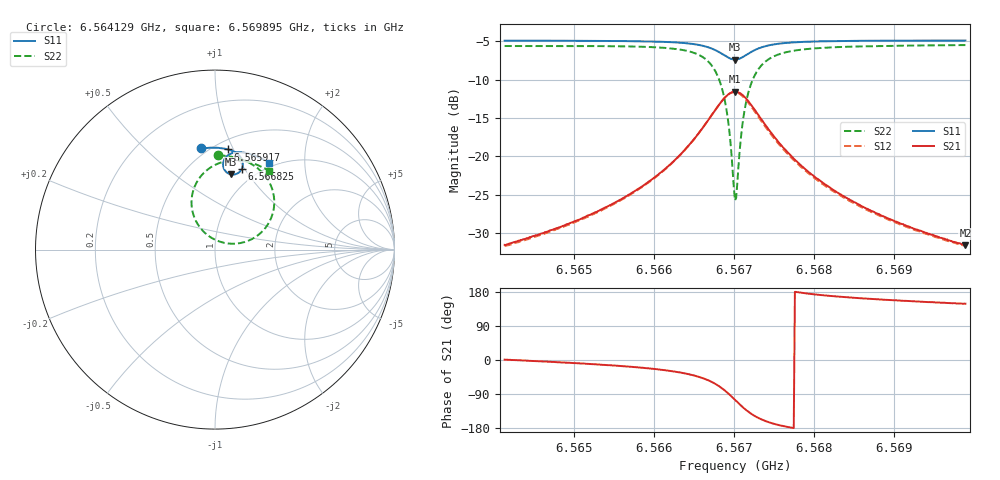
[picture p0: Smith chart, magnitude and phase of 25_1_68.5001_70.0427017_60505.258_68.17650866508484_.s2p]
#  HZ  S  RI  R  50.00
! Rohde & Schwarz Vector Network Analyzer
! Rohde-Schwarz,ZNB20-2Port,1311601062101988,3.16
! Created: UTC 3/20/2024, 5:04:50 PM
! freq[Hz]  re:S11  im:S11  re:S21  im:S21  re:S12  im:S12  re:S22  im:S22
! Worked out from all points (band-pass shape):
!   401 points, 6.564129 GHz to 6.569895 GHz, reference 50 ohm
!   highest |S21| = -11.56 dB at 6.567012 GHz (marker M1); lowest = -31.6 dB at 6.569895 GHz (marker M2)
!   |S21| within 3 dB of the highest: 6.566724 GHz to 6.567301 GHz (577.1 kHz wide, 0.00879 % of centre)
!   lowest |S11| = -7.4 dB at 6.567012 GHz (marker M3), VSWR 2.50, Z = 40.6 + j41.7 ohm
!   |S11| at or under -10 dB: nowhere
!   |S22| runs from -25.7 to -5.5 dB; largest |S21 - S12| = 0.012
!   S11 on the Smith chart (normalised r, x): 6.564129 GHz: 0.46, +0.76; 6.565917 GHz: 0.58, +0.95; 6.566825 GHz: 0.84, +0.97; 6.569895 GHz: 0.93, +1.34
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6.5641291e9  -0.0802 0.5634  0.0264 0.000429  0.0259 2.04e-05  0.0187 0.5247
6.5650949e9  -0.00218 0.568  0.0387 -0.00637  0.0383 -0.00684  0.1073 0.5141
6.5659165e9  0.0721 0.5581  0.0626 -0.025  0.0616 -0.0257  0.2066 0.4749
6.5660607e9  0.0869 0.5536  0.0697 -0.0325  0.0684 -0.0332  0.2293 0.4597
6.5663778e9  0.122 0.5356  0.0897 -0.0628  0.0882 -0.0639  0.2877 0.3997
6.566594e9  0.1465 0.5087  0.1027 -0.1096  0.1004 -0.1114  0.3257 0.3098
6.5667238e9  0.1552 0.4804  0.0986 -0.1588  0.0947 -0.1615  0.3251 0.2156
6.5668247e9  0.1503 0.4509  0.0726 -0.2093  0.0661 -0.212  0.2806 0.1205
6.5669112e9  0.1297 0.4271  0.0207 -0.2485  0.0113 -0.2492  0.1864 0.0498
6.56694e9  0.1192 0.4217  -0.00317 -0.2563  -0.0134 -0.2557  0.1434 0.0369
6.5669977e9  0.0949 0.4183  -0.0562 -0.258  -0.0668 -0.2536  0.0492 0.0381
6.5670121e9  0.0886 0.4193  -0.0694 -0.255  -0.08 -0.2498  0.026 0.0446
6.5670409e9  0.0765 0.4232  -0.0949 -0.2454  -0.1046 -0.2384  -0.0175 0.0644
6.5670986e9  0.0573 0.4382  -0.1365 -0.2135  -0.1432 -0.2041  -0.0854 0.1254
6.5671418e9  0.0487 0.453  -0.1567 -0.1837  -0.1608 -0.1735  -0.1154 0.18
6.5671995e9  0.0448 0.4732  -0.1694 -0.1436  -0.1707 -0.1337  -0.1306 0.2513
6.5672715e9  0.0487 0.4952  -0.1692 -0.1008  -0.1681 -0.0925  -0.1222 0.3256
6.567531e9  0.0877 0.5343  -0.1268 -0.022  -0.1241 -0.0184  -0.026 0.4567
6.5679779e9  0.1463 0.5422  -0.0754 0.00797  -0.0736 0.00921  0.0947 0.4966
6.5683815e9  0.1864 0.5352  -0.0529 0.0132  -0.0518 0.0137  0.1601 0.4933
6.5689437e9  0.2335 0.5193  -0.0363 0.0143  -0.0355 0.0147  0.2241 0.4766
6.569895e9  0.3023 0.4844  -0.0224 0.0137  -0.0219 0.014  0.3036 0.4376
